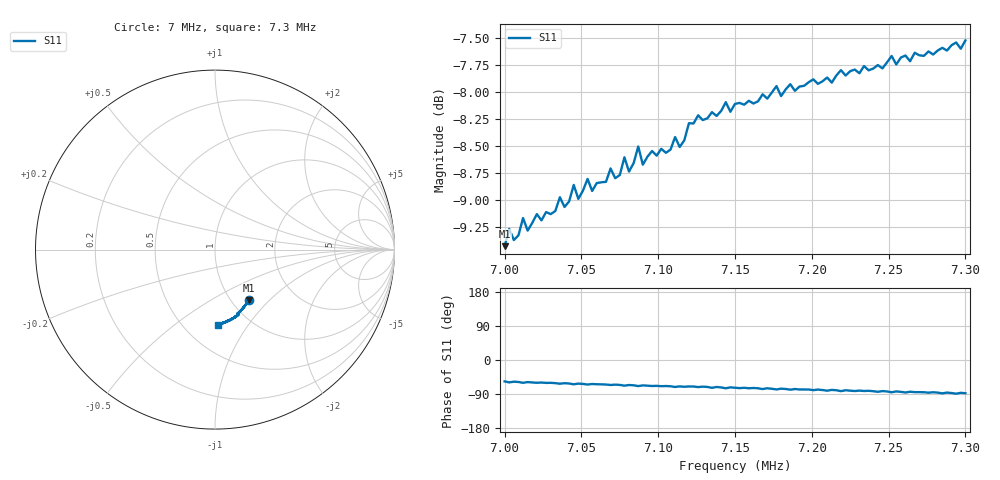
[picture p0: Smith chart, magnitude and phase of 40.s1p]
# Hz S RI R 50
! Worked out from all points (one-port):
!   101 points, 7 MHz to 7.3 MHz, reference 50 ohm
!   lowest |S11| = -9.4 dB at 7 MHz (marker M1), VSWR 2.02, Z = 59.8 - j38 ohm
!   |S11| at or under -10 dB: nowhere
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7000000  0.1867 -0.2817
7039000  0.1697 -0.3087
7075000  0.1497 -0.3323
7114000  0.1307 -0.352
7129000  0.1303 -0.3637
7135000  0.1109 -0.3735
7138000  0.1251 -0.3673
7144000  0.1046 -0.3796
7150000  0.114 -0.3761
7168000  0.0915 -0.3864
7171000  0.1046 -0.3811
7177000  0.0849 -0.3914
7189000  0.0925 -0.3876
7210000  0.0635 -0.3992
7213000  0.0774 -0.3945
7219000  0.0556 -0.4035
7225000  0.0641 -0.4018
7243000  0.0438 -0.4072
7246000  0.0562 -0.4042
7252000  0.0349 -0.412
7255000  0.0505 -0.4067
7261000  0.0305 -0.4126
7264000  0.0447 -0.4088
7279000  0.0355 -0.4126
7285000  0.0141 -0.4169
7288000  0.0297 -0.4149
7294000  0.00786 -0.4194
7300000  0.0169 -0.4201
